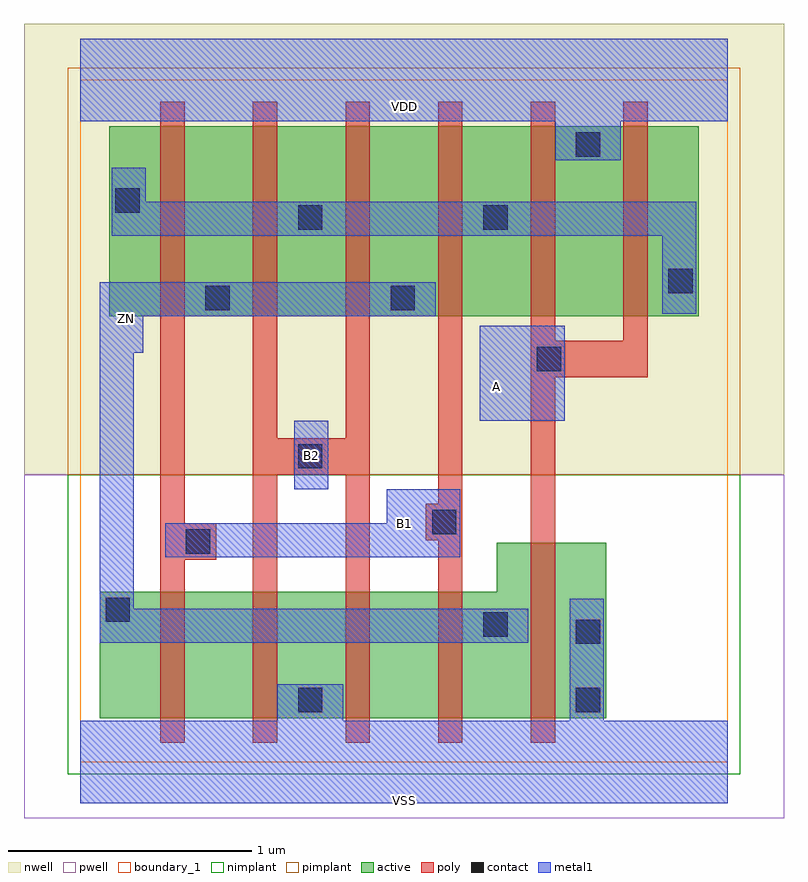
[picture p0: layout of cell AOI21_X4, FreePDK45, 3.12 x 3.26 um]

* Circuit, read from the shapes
.subckt AOI21_X4 A B1 B2 VDD VSS ZN
M1 n1 B1 ZN VSUBS nfet w=0.52u l=0.1u
M2 VSS B2 n1 VSUBS nfet w=0.52u l=0.1u
M3 n2 B2 VSS VSUBS nfet w=0.52u l=0.1u
M4 ZN B1 n2 VSUBS nfet w=0.52u l=0.1u
M5 VSS A ZN VSUBS nfet w=0.72u l=0.1u
M6 ZN B1 n3 n4 pfet w=0.78u l=0.1u m=2
M7 n3 B2 ZN n4 pfet w=0.78u l=0.1u m=2
M8 VDD A n3 n4 pfet w=0.78u l=0.1u m=2
.ends

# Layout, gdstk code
import gdstk
lib = gdstk.Library(unit=1e-6, precision=1e-09)
def R(c, l, rs):  # rectangles x0, y0, x1, y1
    for r in rs: c.add(gdstk.rectangle(r[:2], r[2:], *l))
def P(c, l, *ps):  # polygons
    for p in ps: c.add(gdstk.Polygon(p, *l))
active = (1, 0)
pwell = (2, 0)
nwell = (3, 0)
nimplant = (4, 0)
pimplant = (5, 0)
poly = (9, 0)
contact = (10, 0)
metal1 = (11, 0)
boundary_1 = (235, 1)

aoi21_x4 = lib.new_cell('AOI21_X4')
R(aoi21_x4, active, [(0.12,1.83,2.54,2.61)])
P(aoi21_x4, active, [(0.08,0.18),(2.16,0.18),(2.16,0.9),(1.71,0.9),(1.71,0.7),(0.08,0.7)])
R(aoi21_x4, pwell, [(-0.23,-0.23,2.89,1.18)])
R(aoi21_x4, nwell, [(-0.23,1.18,2.89,3.03)])
R(aoi21_x4, nimplant, [(-0.05,-0.05,2.71,1.18)])
R(aoi21_x4, pimplant, [(-0.05,1.18,2.71,2.85)])
P(aoi21_x4, poly, [(1.85,0.08),(1.95,0.08),(1.95,1.58),(2.33,1.58),(2.33,2.71),(2.23,2.71),(2.23,1.73),(1.95,1.73),(1.95,2.71),(1.85,2.71)],
  [(1.42,0.91),(1.47,0.91),(1.47,0.08),(1.57,0.08),(1.57,2.71),(1.47,2.71),(1.47,1.06),(1.42,1.06)],
  [(0.71,0.08),(0.81,0.08),(0.81,1.18),(1.09,1.18),(1.09,0.08),(1.19,0.08),(1.19,2.71),(1.09,2.71),(1.09,1.33),(0.81,1.33),(0.81,2.71),(0.71,2.71)],
  [(0.33,0.08),(0.43,0.08),(0.43,0.83),(0.56,0.83),(0.56,0.98),(0.43,0.98),(0.43,2.71),(0.33,2.71)])
R(aoi21_x4, contact, [(0.895,0.205,0.995,0.305), (2.035,0.205,2.135,0.305), (2.035,0.485,2.135,0.585), (1.655,0.515,1.755,0.615), (0.105,0.575,0.205,0.675), (0.435,0.855,0.535,0.955), (1.445,0.935,1.545,1.035), (0.895,1.205,0.995,1.305), (1.875,1.605,1.975,1.705), (0.515,1.855,0.615,1.955), (1.275,1.855,1.375,1.955), (2.415,1.925,2.515,2.025), (0.895,2.185,0.995,2.285), (1.655,2.185,1.755,2.285), (0.145,2.255,0.245,2.355), (2.035,2.485,2.135,2.585)])
R(aoi21_x4, metal1, [(0.88,1.12,1.02,1.4), (0.88,1.12,1.02,1.4), (1.64,1.4,1.99,1.79), (1.64,1.4,1.99,1.79)])
P(aoi21_x4, metal1, [(0.08,0.49),(1.84,0.49),(1.84,0.63),(0.22,0.63),(0.22,1.68),(0.26,1.68),(0.26,1.83),(1.46,1.83),(1.46,1.97),(0.08,1.97)],
  [(0,-0.17),(2.66,-0.17),(2.66,0.17),(2.15,0.17),(2.15,0.67),(2.01,0.67),(2.01,0.17),(1.08,0.17),(1.08,0.32),(0.81,0.32),(0.81,0.17),(0,0.17)],
  [(0.35,0.84),(1.56,0.84),(1.56,1.12),(1.26,1.12),(1.26,0.98),(0.35,0.98)],
  [(0,2.63),(1.95,2.63),(1.95,2.47),(2.22,2.47),(2.22,2.63),(2.66,2.63),(2.66,2.97),(0,2.97)],
  [(0,2.63),(1.95,2.63),(1.95,2.47),(2.22,2.47),(2.22,2.63),(2.66,2.63),(2.66,2.97),(0,2.97)],
  [(0,-0.17),(2.66,-0.17),(2.66,0.17),(2.15,0.17),(2.15,0.67),(2.01,0.67),(2.01,0.17),(1.08,0.17),(1.08,0.32),(0.81,0.32),(0.81,0.17),(0,0.17)],
  [(0.13,2.16),(2.39,2.16),(2.39,1.84),(2.53,1.84),(2.53,2.3),(0.27,2.3),(0.27,2.44),(0.13,2.44)],
  [(0.08,0.49),(1.84,0.49),(1.84,0.63),(0.22,0.63),(0.22,1.68),(0.26,1.68),(0.26,1.83),(1.46,1.83),(1.46,1.97),(0.08,1.97)],
  [(0.35,0.84),(1.56,0.84),(1.56,1.12),(1.26,1.12),(1.26,0.98),(0.35,0.98)])
R(aoi21_x4, boundary_1, [(0,0,2.66,2.8)])
aoi21_x4.add(gdstk.Label('ZN', (0.19,1.82), layer=11, texttype=0))
aoi21_x4.add(gdstk.Label('VSS', (1.33,-0.16), layer=11, texttype=0))
aoi21_x4.add(gdstk.Label('VDD', (1.33,2.69), layer=11, texttype=0))
aoi21_x4.add(gdstk.Label('B2', (0.95,1.26), layer=11, texttype=0))
aoi21_x4.add(gdstk.Label('B1', (1.33,0.98), layer=11, texttype=0))
aoi21_x4.add(gdstk.Label('A', (1.71,1.54), layer=11, texttype=0))

lib.write_gds('AOI21_X4.gds')
